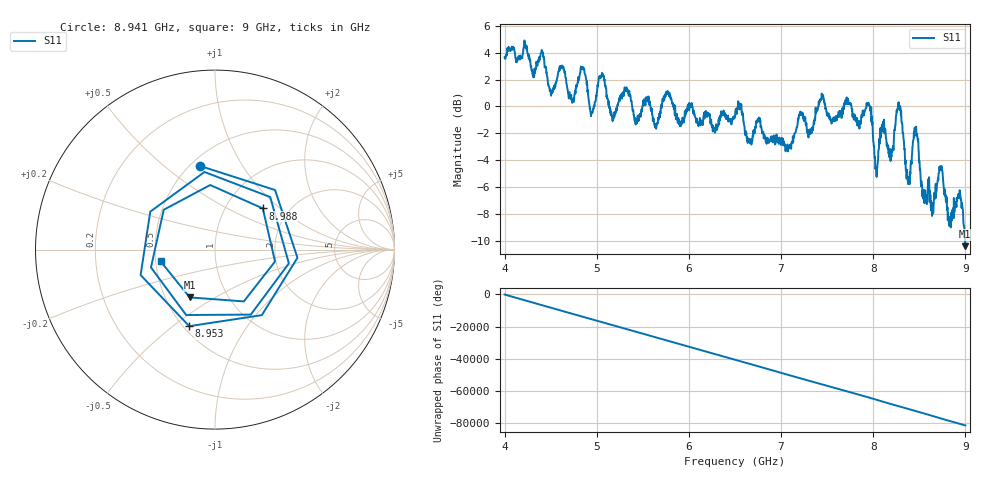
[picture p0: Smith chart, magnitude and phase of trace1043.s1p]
! Created with skrf 1.8.0 (http://scikit-rf.org).
# Hz S RI R 50.0
!freq ReS11 ImS11
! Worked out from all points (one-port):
!   1601 points, 4 GHz to 9 GHz, reference 50 ohm
!   lowest |S11| = -10.4 dB at 8.997 GHz (marker M1), VSWR 1.86, Z = 33.1 - j19.4 ohm
!   |S11| at or under -10 dB: 8.995426 GHz to end of sweep
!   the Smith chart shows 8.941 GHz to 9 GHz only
!   S11 on the Smith chart (normalised r, x): 8.941 GHz: 0.56, +0.67; 8.953 GHz: 0.54, -0.57; 8.988 GHz: 1.48, +0.78; 9 GHz: 0.53, -0.08
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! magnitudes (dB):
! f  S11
! 4 GHz  3.6
! 4.509 GHz  0.9
! 4.625 GHz  2.9
! 4.731 GHz  0.5
! 4.85 GHz  2.9
! 4.944 GHz  -0.4
! 5.047 GHz  2.3
! 5.166 GHz  -0.8
! 5.25 GHz  0.4
! 5.875 GHz  -0.9
! 6.5 GHz  -0.8
! 7.125 GHz  -2.7
! 7.75 GHz  0.3
! 7.953 GHz  0.2
! 8.038 GHz  -5.3
! 8.103 GHz  -1.5
! 8.197 GHz  -3.8
! 8.278 GHz  0.3
! 8.375 GHz  -5.5
! 8.462 GHz  -1.6
! 8.559 GHz  -6.2
! 8.728 GHz  -4.5
! 8.828 GHz  -8.8
! 8.941 GHz  -6.5
! 8.953 GHz  -6.9
! 8.988 GHz  -9.1
! 8.997 GHz  -10.4
! 9 GHz  -10.2
